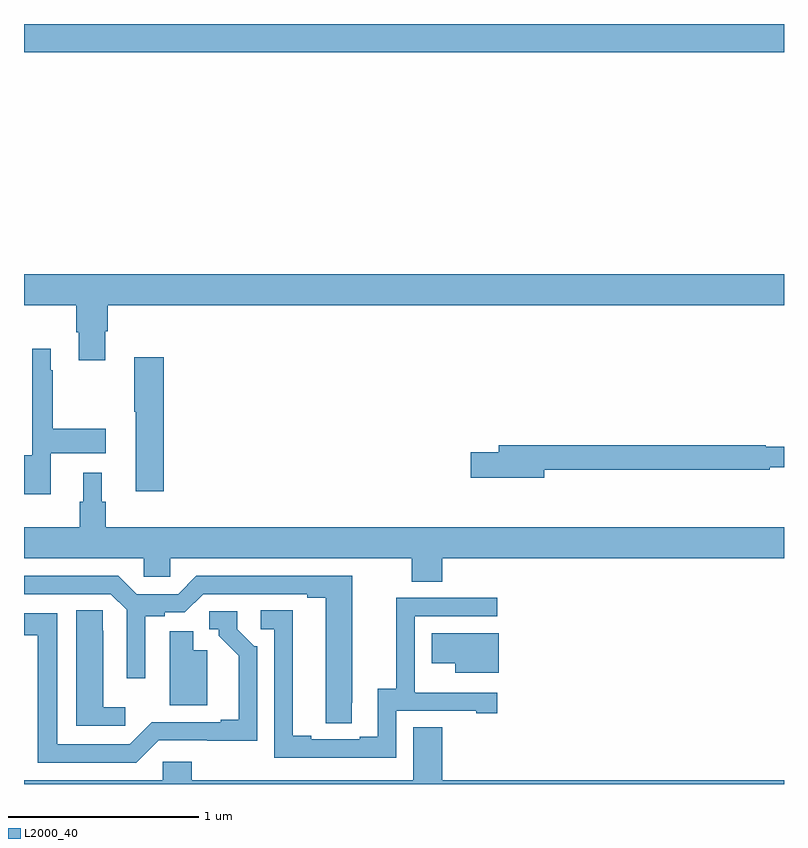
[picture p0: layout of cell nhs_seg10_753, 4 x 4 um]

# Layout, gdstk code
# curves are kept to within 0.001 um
import gdstk
lib = gdstk.Library(unit=1e-6, precision=1e-09)
def R(c, l, rs):  # rectangles x0, y0, x1, y1
    for r in rs: c.add(gdstk.rectangle(r[:2], r[2:], *l))
def P(c, l, *ps):  # polygons
    for p in ps: c.add(gdstk.Polygon(p, *l))
L2000_40 = (2000, 40)

nhs_seg10_753 = lib.new_cell('nhs_seg10_753')
R(nhs_seg10_753, L2000_40, [(149,1264.352,153,1264.5)])
P(nhs_seg10_753, L2000_40, [(149.428,1262.883),(149.441,1262.883),(149.441,1263.02),(153,1263.02),(153,1263.184),(149,1263.184),(149,1263.02),(149.276,1263.02),(149.276,1262.878),(149.288,1262.878),(149.288,1262.73),(149.428,1262.73)],
  [(149.14,1262.24),(149.431,1262.24),(149.431,1262.37),(149.152,1262.37),(149.152,1262.678),(149.14,1262.678),(149.14,1262.791),(149.043,1262.791),(149.043,1262.23),(149,1262.23),(149,1262.024),(149.14,1262.024)],
  [(149.735,1262.746),(149.581,1262.746),(149.581,1262.458),(149.588,1262.458),(149.588,1262.04),(149.735,1262.04)],
  [(151.738,1262.154),(152.924,1262.154),(152.924,1262.166),(153,1262.166),(153,1262.275),(152.903,1262.275),(152.903,1262.282),(151.499,1262.282),(151.499,1262.246),(151.35,1262.246),(151.35,1262.111),(151.738,1262.111)],
  [(151.202,1261.688),(153,1261.688),(153,1261.852),(149.429,1261.852),(149.429,1261.986),(149.41,1261.986),(149.41,1262.137),(149.312,1262.137),(149.312,1261.986),(149.293,1261.986),(149.293,1261.852),(149,1261.852),(149,1261.688),(149.631,1261.688),(149.631,1261.59),(149.769,1261.59),(149.769,1261.688),(151.042,1261.688),(151.042,1261.564),(151.202,1261.564)],
  [(150.726,1260.928),(150.727,1261.596),(149.907,1261.596),(149.811,1261.5),(149.593,1261.5),(149.497,1261.596),(149,1261.596),(149,1261.5),(149.457,1261.5),(149.541,1261.416),(149.541,1261.056),(149.638,1261.056),(149.638,1261.384),(149.742,1261.384),(149.742,1261.404),(149.847,1261.404),(149.943,1261.5),(150.491,1261.5),(150.491,1261.48),(150.587,1261.48),(150.587,1260.82),(150.726,1260.82)],
  [(150.96,1260.885),(151.379,1260.885),(151.379,1260.873),(151.492,1260.873),(151.492,1260.981),(151.058,1260.981),(151.058,1260.982),(151.056,1260.982),(151.056,1261.383),(151.492,1261.383),(151.492,1261.479),(150.958,1261.479),(150.958,1261.001),(150.863,1261.001),(150.863,1260.75),(150.767,1260.75),(150.767,1260.735),(150.511,1260.735),(150.511,1260.755),(150.415,1260.755),(150.415,1261.415),(150.246,1261.415),(150.246,1261.314),(150.318,1261.314),(150.318,1260.639),(150.96,1260.639)],
  [(149.533,1260.904),(149.416,1260.904),(149.416,1261.307),(149.415,1261.307),(149.415,1261.415),(149.276,1261.415),(149.276,1260.807),(149.533,1260.807)],
  [(149.709,1260.729),(150.228,1260.728),(150.228,1261.224),(150.213,1261.224),(150.123,1261.314),(150.123,1261.41),(149.976,1261.41),(149.976,1261.314),(150.026,1261.314),(150.026,1261.279),(150.131,1261.174),(150.131,1260.838),(150.035,1260.838),(150.035,1260.825),(149.673,1260.825),(149.556,1260.708),(149.176,1260.708),(149.176,1261.398),(149,1261.398),(149,1261.282),(149.072,1261.282),(149.072,1260.612),(149.592,1260.612)],
  [(149.965,1261.204),(149.89,1261.204),(149.89,1261.303),(149.768,1261.303),(149.768,1260.914),(149.965,1260.914)],
  [(151.498,1261.294),(151.146,1261.294),(151.146,1261.136),(151.271,1261.136),(151.271,1261.085),(151.498,1261.085)],
  [(153,1260.52),(151.202,1260.52),(151.202,1260.8),(151.049,1260.8),(151.049,1260.52),(149.882,1260.52),(149.882,1260.618),(149.73,1260.618),(149.73,1260.52),(149,1260.52),(149,1260.5),(153,1260.5)])

lib.write_gds('nhs_seg10_753.gds')
